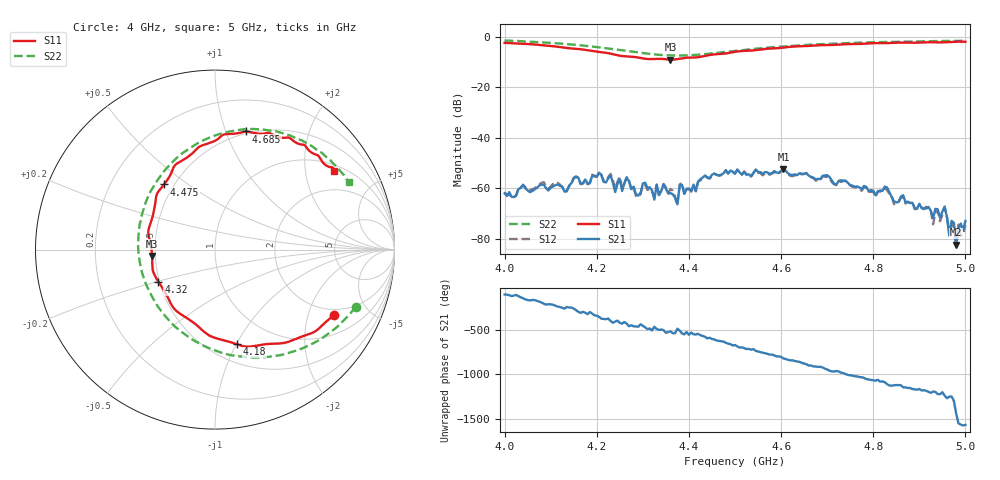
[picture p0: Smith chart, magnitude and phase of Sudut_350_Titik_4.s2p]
# Hz S RI R 50
! CMT, C1220, 16058040, 17.2.0/1
! Date: 15/08/2018 12:35:04
! Data: Format (Calibration Info)
! Freq  S11: Re/Im (F2)  S21: Re/Im (F2)  S12: Re/Im (F2)  S22: Re/Im (F2)
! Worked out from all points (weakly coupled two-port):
!   201 points, 4 GHz to 5 GHz, reference 50 ohm
!   highest |S21| = -52.48 dB at 4.605 GHz (marker M1); lowest = -82.3 dB at 4.98 GHz (marker M2)
!   lowest |S11| = -9.1 dB at 4.36 GHz (marker M3), VSWR 2.09, Z = 24 - j1.94 ohm
!   |S11| at or under -10 dB: nowhere
!   |S22| runs from -7.4 to -1.5 dB; largest |S21 - S12| = 0.00017
!   S11 on the Smith chart (normalised r, x): 4 GHz: 1.72, -2.96; 4.18 GHz: 0.67, -1.00; 4.32 GHz: 0.49, -0.20; 4.475 GHz: 0.44, +0.41; 4.685 GHz: 0.48, +1.18; 5 GHz: 1.22, +2.89
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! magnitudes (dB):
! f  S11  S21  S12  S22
! 4 GHz  -2.4  -62.0  -61.6  -1.5
! 4.17 GHz  -5.1  -57.9  -58.2  -3.5
! 4.18 GHz  -5.3  -58.1  -58.4  -3.7
! 4.205 GHz  -6.0  -53.8  -53.7  -4.2
! 4.24 GHz  -7.1  -61.5  -60.2  -5.0
! 4.32 GHz  -8.8  -60.8  -61.5  -6.9
! 4.335 GHz  -8.7  -62.6  -62.8  -7.1
! 4.36 GHz  -9.1  -61.9  -60.3  -7.4
! 4.375 GHz  -8.8  -66.3  -66.6  -7.4
! 4.38 GHz  -8.7  -58.9  -58.4  -7.4
! 4.475 GHz  -6.7  -54.1  -54.3  -6.1
! 4.5 GHz  -6.0  -54.3  -54.0  -5.6
! 4.605 GHz  -4.3  -52.5  -52.8  -3.8
! 4.67 GHz  -3.5  -55.8  -55.9  -3.1
! 4.685 GHz  -3.3  -56.4  -56.8  -2.9
! 4.835 GHz  -2.5  -61.5  -62.2  -2.0
! 4.93 GHz  -2.2  -71.7  -74.2  -1.7
! 4.955 GHz  -2.2  -67.2  -67.6  -1.7
! 4.965 GHz  -2.1  -78.8  -76.9  -1.6
! 4.97 GHz  -2.0  -72.9  -73.4  -1.6
! 4.98 GHz  -1.9  -82.3  -82.9  -1.6
! 5 GHz  -2.0  -73.0  -74.5  -1.6
